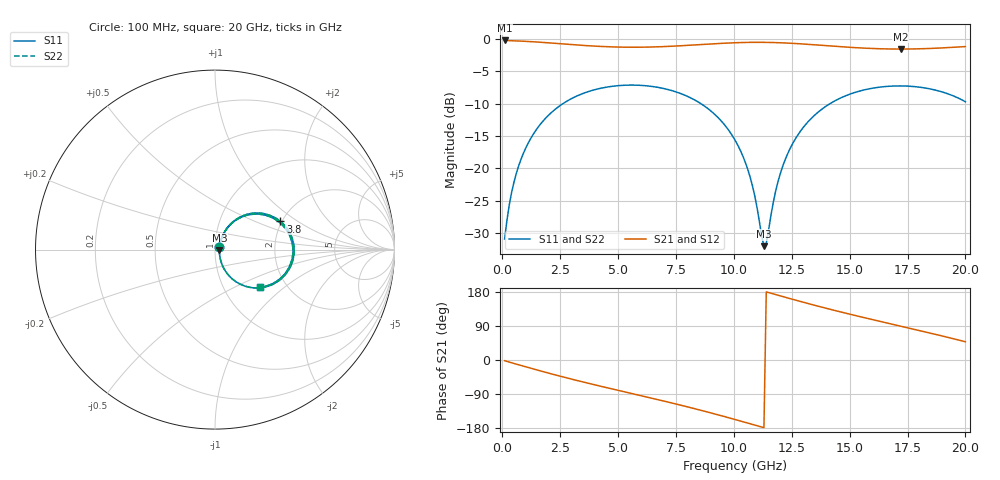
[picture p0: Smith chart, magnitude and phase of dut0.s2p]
! Touchstone file exported from HFSS 2026.1.0
!  File:  C:/ffzhzh/LocalFiles/Ansys_Project_Files/temp_train_TSV_RDL_0_1782959847_45308.aedt
!  Generated:  10:51:35 AM Jul  2, 2026
!  Design:  TSV_RDL
!  Project:  temp_train_TSV_RDL_0_1782959847_45308
! Variables:
!  h_bsmrdl = 3.87um
!  h_ox = 20um
!  h_rdl = 5um
!  h_sub = 83.92um
!  h_tmrdl = 3.95um
!  h_tsv = 83.92um
!  h_via = 3um
!  l_bsmrdl = 687.28um
!  l_sub = 5213.3um
!  l_tmrdl = 659.59um
!  m_sub = 200um
!  pitch = 39.26um
!  r_tsv = 10.81um
!  s_tmrdl = 10um
!  w_bsmrdl = 15.67um
!  w_sub = 500um
!  w_tmrdl = 22.03um
!  x_tsv_center1 = 670.605um
!  x_tsv_center2 = 1373.555um
!  x_tsv_center3 = 2055.175um
!  x_tsv_center4 = 2758.125um
!  x_tsv_center5 = 3439.745um
!  x_tsv_center6 = 4142.695um
# GHz S MA R 50.000000
! Terminal data exported
! Port[1] = TM_RDL1_1_T1
! Port[2] = TM_RDL5_1_T1
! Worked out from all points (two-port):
!   200 points, 100 MHz to 20 GHz, reference 50 ohm
!   highest |S21| = -0.21 dB at 100 MHz (marker M1); lowest = -1.5 dB at 17.2 GHz (marker M2)
!   |S21| within 3 dB of the highest: start of sweep to end of sweep
!   lowest |S11| = -32.0 dB at 11.3 GHz (marker M3), VSWR 1.05, Z = 52.5 - j0.482 ohm
!   |S11| at or under -10 dB: start of sweep to 2.61 GHz; 8.586 GHz to 14.14 GHz (5.558 GHz wide, 48.9 % of centre)
!   |S22| runs from -32.0 to -7.1 dB; largest |S21 - S12| = 1.7e-14
!   S11 on the Smith chart (normalised r, x): 100 MHz: 1.05, +0.03; 3.8 GHz: 1.97, +0.73; 20 GHz: 1.48, -0.69
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0.1  0.02847 31.9  0.9762 -1.9  0.9762 -1.9  0.02847 31.9
! Gamma 0 0 0 0
! Port Impedance 50 0 50 0
0.3  0.05207 54.7  0.9732 -5.5  0.9732 -5.5  0.05207 54.7
0.5  0.07778 60.4  0.9701 -9.0  0.9701 -9.0  0.07778 60.4
1.2  0.167 58.7  0.9568 -21.2  0.9568 -21.2  0.167 58.7
2.2  0.2785 45.9  0.9301 -37.9  0.9301 -37.9  0.2785 45.9
3.5  0.3808 27.5  0.8935 -58.2  0.8935 -58.2  0.3808 27.5
3.8  0.3972 23.3  0.8865 -62.7  0.8865 -62.7  0.3972 23.3
5.3  0.4401 2.8  0.8659 -84.3  0.8659 -84.3  0.44 2.7
6.8  0.421 -17.6  0.8726 -105.8  0.8726 -105.8  0.421 -17.6
8.7  0.3065 -44.1  0.9104 -134.6  0.9104 -134.6  0.3064 -44.1
10.1  0.1597 -62.3  0.938 -157.8  0.938 -157.8  0.1596 -62.3
10.8  0.07382 -63.3  0.9441 -169.9  0.9441 -169.9  0.07379 -63.2
11.3  0.02506 -10.5  0.944 -178.6  0.944 -178.6  0.02509 -10.4
11.4  0.02635 17.3  0.9435 179.7  0.9435 179.7  0.0264 17.3
11.8  0.0661 58.4  0.9399 172.7  0.9399 172.7  0.06616 58.4
12.2  0.1148 61.3  0.9339 165.9  0.9339 165.9  0.1149 61.3
13.4  0.2494 48.8  0.9061 145.8  0.9061 145.8  0.2495 48.7
15  0.3746 26.9  0.864 121.0  0.864 121.0  0.3746 26.9
16.7  0.432 4.2  0.839 96.4  0.839 96.4  0.432 4.2
17.2  0.4346 -2.3  0.8376 89.3  0.8376 89.3  0.4346 -2.3
18.7  0.4036 -22.1  0.8498 67.8  0.8498 67.8  0.4035 -22.2
20  0.3279 -39.6  0.8756 48.1  0.8756 48.1  0.3278 -39.6
